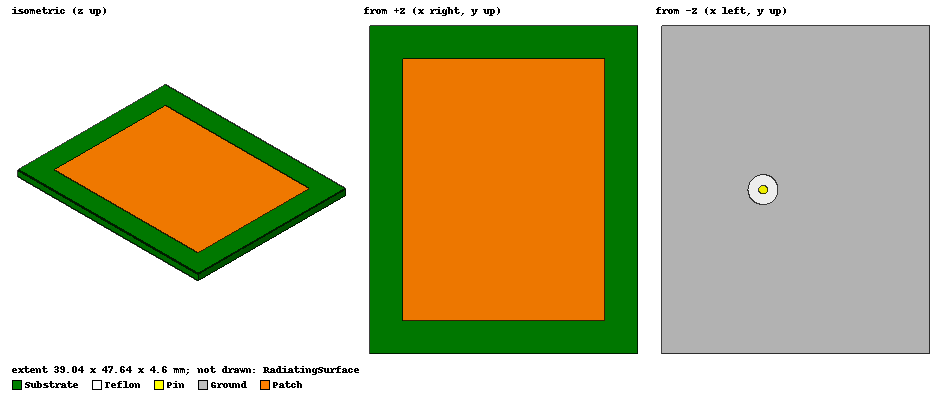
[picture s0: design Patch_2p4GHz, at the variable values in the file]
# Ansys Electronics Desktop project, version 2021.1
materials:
  vacuum: permittivity=1
  FR4_epoxy: permittivity=4.4 dielectric_loss_tangent=0.02
  pec: conductivity=1e+30
  Teflon (tm): permittivity=2.1 dielectric_loss_tangent=0.001

design Patch_2p4GHz (HFSS, DrivenModal, model units mm)
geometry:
  Substrate [FR4_epoxy] = box(corner=(-19.5212mm, -23.8181mm, 0mm), size=(39.0424mm, 47.6363mm, 1.6mm))
  Patch = rectangle(corner=(-14.7212mm, -19.0181mm, 1.6mm), x_size=29.4424mm, y_size=38.0363mm)
  Ground = rectangle(corner=(-19.5212mm, -23.8181mm, 0mm), x_size=39.0424mm, y_size=47.6363mm)
  Hole = circle(normal=Z, centre=(4.7212mm, 0mm, 0mm), radius=2.18mm)
  Ground.subtract(Hole)
  Pin [pec] = cylinder(axis=Z, base_centre=(4.7212mm, 0mm, -3mm), radius=0.65mm, height=4.6mm)
  Teflon [Teflon (tm)] = cylinder(axis=Z, base_centre=(4.7212mm, 0mm, -3mm), radius=2.18mm, height=3mm)
  Pin_1 = Pin.copy()
  Substrate.subtract(Pin_1)
  Pin_2 = Pin.copy()
  Teflon.subtract(Pin_2)
  RadiatingSurface [vacuum] = region(absolute_offset=41.666667mm on all sides)
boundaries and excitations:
  PE_Patch: Perfect E Objects=Patch
  PE_Ground: Perfect E Objects=Ground
  PE_Shield: Perfect E Faces=Teflon.face(1 of 3)
  Open1: Radiation Objects=RadiatingSurface
  p1: Wave Port Faces=Teflon.face(2 of 3) NumModes=1 Modes{Mode1{CharImp=Zpi}}
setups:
  Setup2p4: HfssDriven Frequency=2.4GHz MaxDeltaS=0.02 MaximumPasses=15 MinimumPasses=2 MinimumConvergedPasses=1 PercentRefinement=30 BasisOrder=1 PortAccuracy=2
    sweep Sweep: 2GHz to 2.8GHz, 161 points; Type=Interpolating SaveRadFields InterpTolerance=0.5 InterpMaxSolns=250 InterpUsePortImped=false PassivityErrorTolerance=0.0001
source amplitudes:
  p1:1: 1W 0deg
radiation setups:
  3D: Infinite Sphere Theta=0deg..180deg step 2deg Phi=-180deg..180deg step 2deg
  Elevation: Infinite Sphere Theta=-180deg..180deg step 1deg Phi=0deg..90deg step 90deg
  Azimuth: Infinite Sphere Theta=90deg..90deg step 0deg Phi=-180deg..180deg step 1deg
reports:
  S11: dB(S(p1,p1)) vs Freq on Setup2p4 : Sweep
